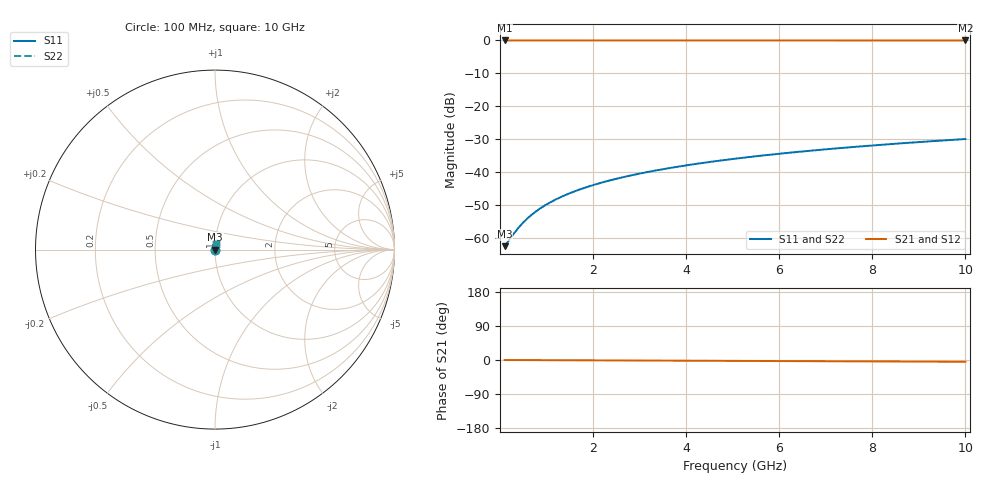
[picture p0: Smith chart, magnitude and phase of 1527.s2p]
# Hz S RI R 50.00
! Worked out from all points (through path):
!   100 points, 100 MHz to 10 GHz, reference 50 ohm
!   highest |S21| = -0.01 dB at 100 MHz (marker M1); lowest = 0.0 dB at 10 GHz (marker M2)
!   lowest |S11| = -62.4 dB at 100 MHz (marker M3), VSWR 1.00, Z = 50.1 + j0.0318 ohm
!   |S11| at or under -10 dB: start of sweep to end of sweep
!   |S22| runs from -62.4 to -29.9 dB; largest |S21 - S12| = 0
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1e8  0.000692 0.000318  0.9993 -0.000806  0.9993 -0.000806  0.000692 0.000318
2e8  0.000698 0.000636  0.9993 -0.00161  0.9993 -0.00161  0.000698 0.000636
3e8  0.000702 0.000954  0.9993 -0.00242  0.9993 -0.00242  0.000702 0.000954
4e8  0.000706 0.00127  0.9993 -0.00322  0.9993 -0.00322  0.000706 0.00127
5e8  0.000711 0.00159  0.9993 -0.00403  0.9993 -0.00403  0.000711 0.00159
6e8  0.000716 0.00191  0.9993 -0.00483  0.9993 -0.00483  0.000716 0.00191
7e8  0.000721 0.00223  0.9993 -0.00564  0.9993 -0.00564  0.000721 0.00223
8e8  0.000726 0.00254  0.9993 -0.00645  0.9993 -0.00645  0.000726 0.00254
1e9  0.000738 0.00318  0.9992 -0.00806  0.9992 -0.00806  0.000738 0.00318
1.2e9  0.000752 0.00382  0.9992 -0.00967  0.9992 -0.00967  0.000752 0.00382
1.5e9  0.000775 0.00477  0.9992 -0.0121  0.9992 -0.0121  0.000775 0.00477
1.8e9  0.000803 0.00572  0.9991 -0.0145  0.9991 -0.0145  0.000803 0.00572
2.1e9  0.000836 0.00668  0.9991 -0.0169  0.9991 -0.0169  0.000836 0.00668
2.5e9  0.000886 0.00795  0.999 -0.0202  0.999 -0.0202  0.000886 0.00795
2.9e9  0.000944 0.00922  0.9989 -0.0234  0.9989 -0.0234  0.000944 0.00922
3.4e9  0.00103 0.0108  0.9988 -0.0274  0.9988 -0.0274  0.00103 0.0108
4.2e9  0.00119 0.0134  0.9986 -0.0339  0.9986 -0.0339  0.00119 0.0134
5.1e9  0.00141 0.0162  0.9983 -0.0412  0.9983 -0.0412  0.00141 0.0162
5.9e9  0.00164 0.0188  0.9979 -0.0476  0.9979 -0.0476  0.00164 0.0188
6.7e9  0.00191 0.0213  0.9975 -0.0541  0.9975 -0.0541  0.00191 0.0213
8.4e9  0.00258 0.0267  0.9965 -0.0679  0.9965 -0.0679  0.00258 0.0267
1e10  0.00336 0.0319  0.9954 -0.081  0.9954 -0.081  0.00336 0.0319
